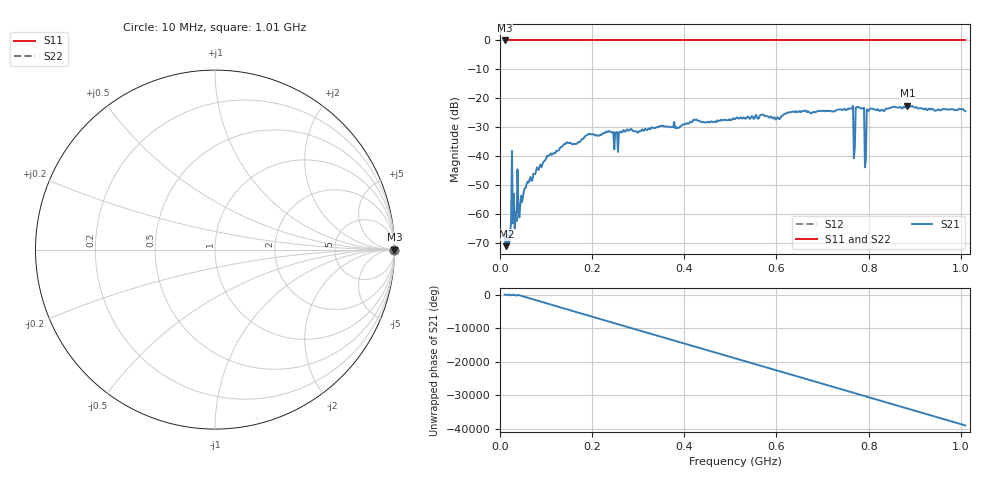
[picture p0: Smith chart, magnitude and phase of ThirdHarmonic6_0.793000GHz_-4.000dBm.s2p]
! 8/16/2025 2:26:48 AM
! C:\ANRITSUVNA\TEMP\TEMP.S2P
! CHANNEL.1
! TR.MEASUREMENT
! RAW.DATA
! RF.CORRECTION.OFF
! AVERAGING.OFF
! IF.BANDWIDTH: 5KHZ
! SWEEPTYPE:  FREQ.SWEEP(Linear)
! Reference Plane Port Info
! PORT:  PORT1  PORT2
! DISTANCE:  0  m  0  m
! TIME:  0  s  0  s
! PHASE.OFFSET:  0  deg.  0  deg.
! LOSS:  0  dB  0  dB
! REF.LOSS:  0  dB  0  dB
! REF.FREQ:  0  Hz  0  Hz
! Power Info
! POWER:  -20  dBm  -20  dBm
! EFF.POWER:  -20  dBm  -20  dBm
! SOURCE.ATTEN:  0  dB  0  dB
! TEST.ATTEN:  0  dB  0  dB
# GHZ S RI R 50.0
! FREQ.GHZ  S11RE  S11IM  S21RE  S21IM  S12RE  S12IM  S22RE  S22IM
!; PortSelection: Port_12
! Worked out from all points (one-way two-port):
!   501 points, 10 MHz to 1.01 GHz, reference 50 ohm
!   highest |S21| = -22.54 dB at 884 MHz (marker M1); lowest = -71.0 dB at 14 MHz (marker M2)
!   lowest |S11| = 0.0 dB at 10 MHz (marker M3)
!   |S11| at or under -10 dB: nowhere
!   |S22| runs from 0.0 to 0.0 dB; largest |S21 - S12| = 1.1
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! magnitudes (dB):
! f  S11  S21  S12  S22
! 10 MHz  0.0  -66.9  0.0  0.0
! 14 MHz  0.0  -71.0  0.0  0.0
! 20 MHz  0.0  -69.8  0.0  0.0
! 26 MHz  0.0  -38.1  0.0  0.0
! 30 MHz  0.0  -52.9  0.0  0.0
! 32 MHz  0.0  -64.9  0.0  0.0
! 84 MHz  0.0  -44.7  0.0  0.0
! 178 MHz  0.0  -34.0  0.0  0.0
! 344 MHz  0.0  -29.9  0.0  0.0
! 510 MHz  0.0  -27.1  0.0  0.0
! 678 MHz  0.0  -24.9  0.0  0.0
! 762 MHz  0.0  -23.5  0.0  0.0
! 766 MHz  0.0  -22.6  0.0  0.0
! 772 MHz  0.0  -23.1  0.0  0.0
! 776 MHz  0.0  -22.8  0.0  0.0
! 786 MHz  0.0  -23.4  0.0  0.0
! 790 MHz  0.0  -23.2  0.0  0.0
! 796 MHz  0.0  -23.7  0.0  0.0
! 800 MHz  0.0  -24.3  0.0  0.0
! 844 MHz  0.0  -23.4  0.0  0.0
! 884 MHz  0.0  -22.5  0.0  0.0
! 1.01 GHz  0.0  -24.4  0.0  0.0
